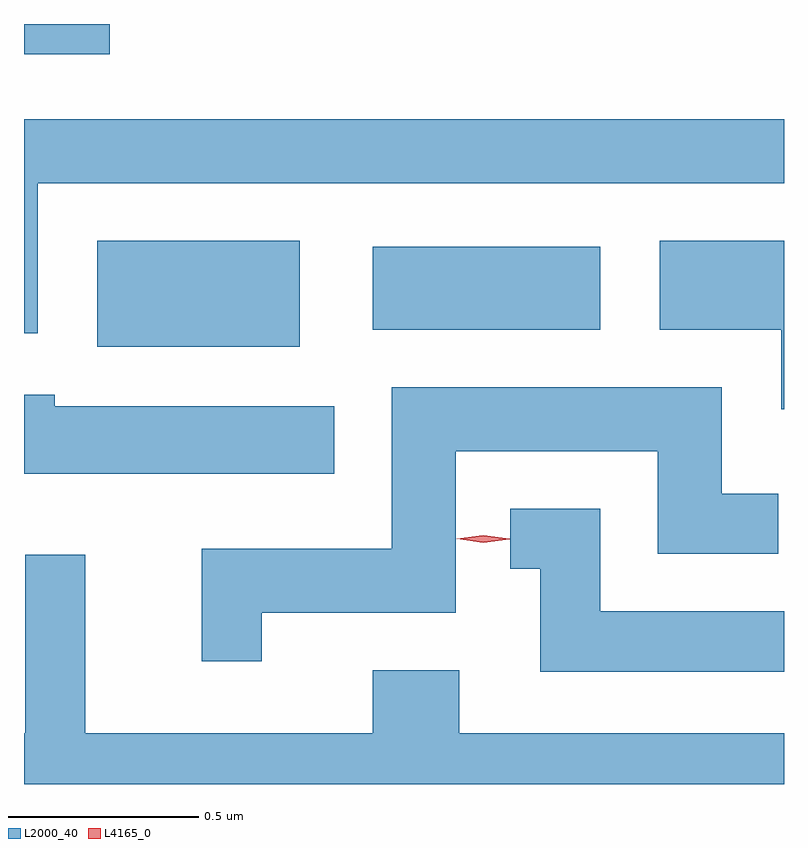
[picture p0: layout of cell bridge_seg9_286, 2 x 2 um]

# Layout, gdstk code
import gdstk
lib = gdstk.Library(unit=1e-6, precision=1e-09)
def R(c, l, rs):  # rectangles x0, y0, x1, y1
    for r in rs: c.add(gdstk.rectangle(r[:2], r[2:], *l))
def P(c, l, *ps):  # polygons
    for p in ps: c.add(gdstk.Polygon(p, *l))
L2000_40 = (2000, 40)
L4165_0 = (4165, 0)

bridge_seg9_286 = lib.new_cell('bridge_seg9_286')
R(bridge_seg9_286, L2000_40, [(1018.906,2048.601,1019.439,2048.879), (1019.631,2048.646,1020.229,2048.864), (1018.713,2049.371,1018.939,2049.45)])
P(bridge_seg9_286, L2000_40, [(1018.749,2049.031),(1020.713,2049.031),(1020.713,2049.199),(1018.713,2049.199),(1018.713,2048.636),(1018.749,2048.636)],
  [(1020.713,2048.879),(1020.386,2048.879),(1020.386,2048.646),(1020.706,2048.646),(1020.706,2048.436),(1020.713,2048.436)],
  [(1019.339,2047.901),(1019.849,2047.901),(1019.849,2048.326),(1020.381,2048.326),(1020.381,2048.056),(1020.698,2048.056),(1020.698,2048.214),(1020.549,2048.214),(1020.549,2048.494),(1019.681,2048.494),(1019.681,2048.069),(1019.181,2048.069),(1019.181,2047.773),(1019.339,2047.773)],
  [(1019.529,2048.444),(1018.794,2048.444),(1018.794,2048.474),(1018.713,2048.474),(1018.713,2048.266),(1019.529,2048.266)],
  [(1020.713,2047.904),(1020.229,2047.904),(1020.229,2048.174),(1019.993,2048.174),(1019.993,2048.016),(1020.071,2048.016),(1020.071,2047.746),(1020.713,2047.746)],
  [(1020.713,2047.584),(1019.859,2047.584),(1019.859,2047.749),(1019.631,2047.749),(1019.631,2047.584),(1018.874,2047.584),(1018.874,2048.053),(1018.716,2048.053),(1018.716,2047.584),(1018.713,2047.584),(1018.713,2047.45),(1020.713,2047.45)])
P(bridge_seg9_286, L4165_0, [(1019.921,2048.085),(1019.852,2048.095),(1019.852,2048.095),(1019.852,2048.096),(1019.921,2048.105),(1019.991,2048.095),(1019.991,2048.095),(1019.991,2048.094)])

lib.write_gds('bridge_seg9_286.gds')
